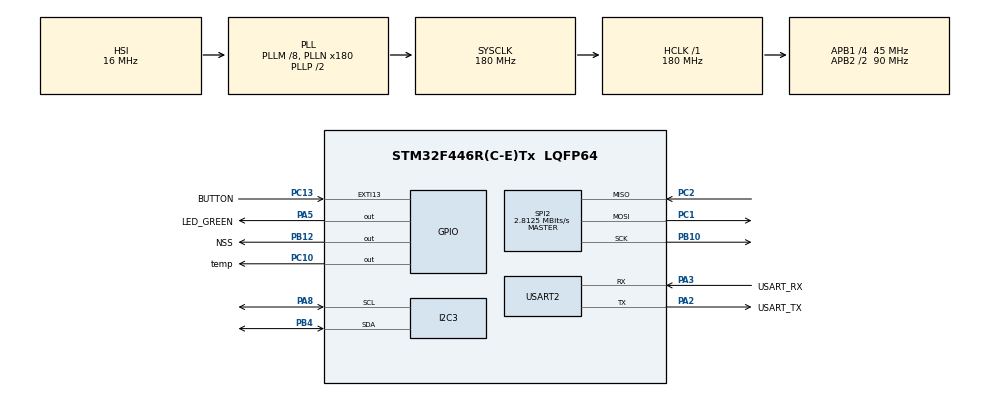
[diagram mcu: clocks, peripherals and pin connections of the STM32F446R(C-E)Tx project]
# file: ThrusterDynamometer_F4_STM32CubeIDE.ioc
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Dma.Request0=SPI2_RX
Dma.Request1=SPI2_TX
Dma.SPI2_RX.0.Direction=DMA_PERIPH_TO_MEMORY
Dma.SPI2_RX.0.FIFOMode=DMA_FIFOMODE_ENABLE
Dma.SPI2_RX.0.FIFOThreshold=DMA_FIFO_THRESHOLD_FULL
Dma.SPI2_RX.0.Instance=DMA1_Stream3
Dma.SPI2_RX.0.MemBurst=DMA_MBURST_SINGLE
Dma.SPI2_RX.0.MemDataAlignment=DMA_MDATAALIGN_BYTE
Dma.SPI2_RX.0.MemInc=DMA_MINC_ENABLE
Dma.SPI2_RX.0.Mode=DMA_NORMAL
Dma.SPI2_RX.0.PeriphBurst=DMA_PBURST_SINGLE
Dma.SPI2_RX.0.PeriphDataAlignment=DMA_PDATAALIGN_BYTE
Dma.SPI2_RX.0.PeriphInc=DMA_PINC_DISABLE
Dma.SPI2_RX.0.Priority=DMA_PRIORITY_LOW
Dma.SPI2_TX.1.Direction=DMA_MEMORY_TO_PERIPH
Dma.SPI2_TX.1.FIFOMode=DMA_FIFOMODE_ENABLE
Dma.SPI2_TX.1.FIFOThreshold=DMA_FIFO_THRESHOLD_FULL
Dma.SPI2_TX.1.Instance=DMA1_Stream4
Dma.SPI2_TX.1.MemBurst=DMA_MBURST_SINGLE
Dma.SPI2_TX.1.MemDataAlignment=DMA_MDATAALIGN_BYTE
Dma.SPI2_TX.1.MemInc=DMA_MINC_ENABLE
Dma.SPI2_TX.1.Mode=DMA_NORMAL
Dma.SPI2_TX.1.PeriphBurst=DMA_PBURST_SINGLE
Dma.SPI2_TX.1.PeriphDataAlignment=DMA_PDATAALIGN_BYTE
Dma.SPI2_TX.1.PeriphInc=DMA_PINC_DISABLE
Dma.SPI2_TX.1.Priority=DMA_PRIORITY_LOW
Mcu.Family=STM32F4
Mcu.Name=STM32F446R(C-E)Tx
Mcu.Package=LQFP64
NVIC.DMA1_Stream3_IRQn=true\:0\:0\:false\:false\:true\:false\:true
NVIC.DMA1_Stream4_IRQn=true\:0\:0\:false\:false\:true\:false\:true
NVIC.EXTI15_10_IRQn=true\:0\:0\:false\:false\:true\:true\:true
NVIC.PriorityGroup=NVIC_PRIORITYGROUP_0
NVIC.SPI2_IRQn=true\:0\:0\:false\:false\:true\:true\:true
NVIC.TIM6_DAC_IRQn=true\:0\:0\:false\:false\:true\:true\:true
PA13.GPIO_Label=TMS
PA13.Mode=Serial_Wire
PA13.Signal=SYS_JTMS-SWDIO
PA14.GPIO_Label=TCK
PA14.Mode=Serial_Wire
PA14.Signal=SYS_JTCK-SWCLK
PA2.GPIO_Label=USART_TX
PA2.Mode=Asynchronous
PA2.Signal=USART2_TX
PA3.GPIO_Label=USART_RX
PA3.Mode=Asynchronous
PA3.Signal=USART2_RX
PA5.GPIO_Label=LED_GREEN
PA5.Signal=GPIO_Output
PA8.Mode=I2C
PA8.Signal=I2C3_SCL
PB10.Mode=Full_Duplex_Master
PB10.Signal=SPI2_SCK
PB12.GPIO_Label=NSS
PB12.PinState=GPIO_PIN_SET
PB12.Signal=GPIO_Output
PB3.GPIO_Label=SWO
PB3.Signal=SYS_JTDO-SWO
PB4.Mode=I2C
PB4.Signal=I2C3_SDA
PC1.Mode=Full_Duplex_Master
PC1.Signal=SPI2_MOSI
PC10.GPIO_Label=temp
PC10.Signal=GPIO_Output
PC13.GPIO_Label=BUTTON
PC13.GPIO_ModeDefaultEXTI=GPIO_MODE_IT_FALLING
PC13.Signal=GPXTI13
PC14-OSC32_IN.Mode=LSE-External-Oscillator
PC14-OSC32_IN.Signal=RCC_OSC32_IN
PC15-OSC32_OUT.Mode=LSE-External-Oscillator
PC15-OSC32_OUT.Signal=RCC_OSC32_OUT
PC2.Mode=Full_Duplex_Master
PC2.Signal=SPI2_MISO
PH0-OSC_IN.Mode=HSE-External-Oscillator
PH0-OSC_IN.Signal=RCC_OSC_IN
PH1-OSC_OUT.Mode=HSE-External-Oscillator
PH1-OSC_OUT.Signal=RCC_OSC_OUT
ProjectManager.HeapSize=0x200
ProjectManager.StackSize=0x400
ProjectManager.TargetToolchain=STM32CubeIDE
RCC.48MHZClocksFreq_Value=84000000
RCC.AHBFreq_Value=180000000
RCC.APB1CLKDivider=RCC_HCLK_DIV4
RCC.APB1Freq_Value=45000000
RCC.APB1TimFreq_Value=90000000
RCC.APB2CLKDivider=RCC_HCLK_DIV2
RCC.APB2Freq_Value=90000000
RCC.APB2TimFreq_Value=180000000
RCC.CortexFreq_Value=180000000
RCC.FLatency-AdvancedSettings=FLASH_LATENCY_5
RCC.HCLKFreq_Value=180000000
RCC.HSE_VALUE=8000000
RCC.HSI_VALUE=16000000
RCC.PLLM=8
RCC.PLLN=180
RCC.SYSCLKFreq_VALUE=180000000
RCC.SYSCLKSource=RCC_SYSCLKSOURCE_PLLCLK
RCC.USBFreq_Value=180000000
RCC.VCOOutputFreq_Value=360000000
SPI2.BaudRatePrescaler=SPI_BAUDRATEPRESCALER_16
SPI2.CalculateBaudRate=2.8125 MBits/s
SPI2.Direction=SPI_DIRECTION_2LINES
SPI2.Mode=SPI_MODE_MASTER
SPI2.VirtualType=VM_MASTER
TIM1.Period=65000
TIM1.Prescaler=179
TIM6.Period=9999
TIM6.Prescaler=8999
USART2.VirtualMode=VM_ASYNC
VP_TIM1_VS_ClockSourceINT.Mode=Internal
VP_TIM6_VS_ClockSourceINT.Mode=Enable_Timer
board=NUCLEO-F446RE

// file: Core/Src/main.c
	/* USER CODE BEGIN Header */
/**
  ******************************************************************************
  * @file           : main.c
  * @brief          : Main program body
  ******************************************************************************
  * @attention
  *
  * <h2><center>&copy; Copyright (c) 2020 STMicroelectronics.
  * All rights reserved.</center></h2>
  *
  * This software component is licensed by ST under BSD 3-Clause license,
  * the "License"; You may not use this file except in compliance with the
  * License. You may obtain a copy of the License at:
  *                        opensource.org/licenses/BSD-3-Clause
  *
  ******************************************************************************
  */
/* USER CODE END Header */

#include "main.h"

/* USER CODE BEGIN Includes */

#include "ds18b20.h"
#include "onewire.h"
#include "gpio.h"
#include "MS5837-30BA.h"
#include <string.h>
#include <stdio.h>

/* USER CODE END Includes */

I2C_HandleTypeDef hi2c3;

SPI_HandleTypeDef hspi2;
DMA_HandleTypeDef hdma_spi2_rx;
DMA_HandleTypeDef hdma_spi2_tx;

TIM_HandleTypeDef htim1;
TIM_HandleTypeDef htim6;

UART_HandleTypeDef huart2;

/* USER CODE BEGIN PV */

uint8_t quality = 0;
float temperature1 = 0; // zmienne do temperatury !!!!!!!!!!!!!!!!!!!!!!!!!!!!!!!!!!!!!!!!!!!!!!
float temperature2 = 0; // !!!!!!!!!!!!!!!!!!!!!!!!!!!!!!!!!!!!!!!!!!!!!!!!!!!!!!!!!!!!!!!!!!!!!

char data[50];

char msg[300];

float pressure;

/* USER CODE END PV */

void SystemClock_Config(void);
static void MX_GPIO_Init(void);
static void MX_DMA_Init(void);
static void MX_USART2_UART_Init(void);
static void MX_I2C3_Init(void);
static void MX_SPI2_Init(void);
static void MX_TIM1_Init(void);
static void MX_TIM6_Init(void);

/* USER CODE BEGIN 0 */

uint8_t sensor_data[4];

void add_to_sensor_table(uint8_t sensor_data[], float temp_1, float temp_2){

	uint16_t temp1_16 = (uint16_t)(temp_1*10);
	uint16_t temp2_16 = (uint16_t)(temp_2*10);

	sensor_data[0] = (temp1_16>>8)&0xFF;
	sensor_data[1] = (temp1_16&0xFF);

	sensor_data[2] = (temp2_16>>8)&0xFF;
	sensor_data[3] = (temp2_16&0xFF);
}

void HAL_TIM_PeriodElapsedCallback(TIM_HandleTypeDef *htim){
	if(htim == &htim6){
		HAL_GPIO_TogglePin(LED_GREEN_GPIO_Port, LED_GREEN_Pin);
//		sprintf(data, "%.1f	 |	%.1f\r\n", temperature1, temperature2);
//		sprintf(data, "%d	 |	%d\r\n", (int)(temperature1*10), (int)(temperature2*10));
		add_to_sensor_table(sensor_data, temperature1, temperature2);

		HAL_GPIO_WritePin(NSS_GPIO_Port, NSS_Pin, GPIO_PIN_RESET);

		HAL_SPI_Transmit_DMA(&hspi2, sensor_data, 4);

		sprintf(data, "%x	 |	%x			%x	 |	%x\r\n", sensor_data[0], sensor_data[1], sensor_data[2], sensor_data[3]);
		HAL_UART_Transmit(&huart2, (uint8_t*) data, strlen(data), HAL_MAX_DELAY);
	}
}

void HAL_SPI_TxCpltCallback(SPI_HandleTypeDef *hspi){
	HAL_GPIO_WritePin(NSS_GPIO_Port, NSS_Pin, GPIO_PIN_SET);
}

/* USER CODE END 0 */

int main(void)
{

  /* MCU Configuration--------------------------------------------------------*/

  /* Reset of all peripherals, Initializes the Flash interface and the Systick. */
  HAL_Init();

  /* Configure the system clock */
  SystemClock_Config();

  /* Initialize all configured peripherals */
  MX_GPIO_Init();
  MX_DMA_Init();
  MX_USART2_UART_Init();
  MX_I2C3_Init();
  MX_SPI2_Init();
  MX_TIM1_Init();
  MX_TIM6_Init();
  /* USER CODE BEGIN 2 */

  DS18B20_Init(DS18B20_Resolution_12bits);
  DS18B20_StartAll();

  DS18B20_ReadAll();
  HAL_Delay(2000);

  HAL_TIM_Base_Start_IT(&htim6);

  /* USER CODE END 2 */

  /* Infinite loop */
  /* USER CODE BEGIN WHILE */
  while (1)
  {

	  	DS18B20_ReadAll();
		DS18B20_GetTemperature(0, &temperature1);
		temperature1 = (1.0178117 * temperature1) - 0.5625;
		DS18B20_GetTemperature(1, &temperature2);
		temperature2 = (1.0176 * temperature2) - 0.4125;

		DS18B20_StartAll();
		quality = DS18B20_Quantity();

		HAL_Delay(1000);

    /* USER CODE END WHILE */

  }
}

void SystemClock_Config(void)
{
  RCC_OscInitTypeDef RCC_OscInitStruct = {0};
  RCC_ClkInitTypeDef RCC_ClkInitStruct = {0};

  /** Configure the main internal regulator output voltage
  */
  __HAL_RCC_PWR_CLK_ENABLE();
  __HAL_PWR_VOLTAGESCALING_CONFIG(PWR_REGULATOR_VOLTAGE_SCALE1);
  /** Initializes the CPU, AHB and APB busses clocks
  */
  RCC_OscInitStruct.OscillatorType = RCC_OSCILLATORTYPE_HSI;
  RCC_OscInitStruct.HSIState = RCC_HSI_ON;
  RCC_OscInitStruct.HSICalibrationValue = RCC_HSICALIBRATION_DEFAULT;
  RCC_OscInitStruct.PLL.PLLState = RCC_PLL_ON;
  RCC_OscInitStruct.PLL.PLLSource = RCC_PLLSOURCE_HSI;
  RCC_OscInitStruct.PLL.PLLM = 8;
  RCC_OscInitStruct.PLL.PLLN = 180;
  RCC_OscInitStruct.PLL.PLLP = RCC_PLLP_DIV2;
  RCC_OscInitStruct.PLL.PLLQ = 2;
  RCC_OscInitStruct.PLL.PLLR = 2;
  if (HAL_RCC_OscConfig(&RCC_OscInitStruct) != HAL_OK)
  {
    Error_Handler();
  }
  /** Activate the Over-Drive mode
  */
  if (HAL_PWREx_EnableOverDrive() != HAL_OK)
  {
    Error_Handler();
  }
  /** Initializes the CPU, AHB and APB busses clocks
  */
  RCC_ClkInitStruct.ClockType = RCC_CLOCKTYPE_HCLK|RCC_CLOCKTYPE_SYSCLK
                              |RCC_CLOCKTYPE_PCLK1|RCC_CLOCKTYPE_PCLK2;
  RCC_ClkInitStruct.SYSCLKSource = RCC_SYSCLKSOURCE_PLLCLK;
  RCC_ClkInitStruct.AHBCLKDivider = RCC_SYSCLK_DIV1;
  RCC_ClkInitStruct.APB1CLKDivider = RCC_HCLK_DIV4;
  RCC_ClkInitStruct.APB2CLKDivider = RCC_HCLK_DIV2;

  if (HAL_RCC_ClockConfig(&RCC_ClkInitStruct, FLASH_LATENCY_5) != HAL_OK)
  {
    Error_Handler();
  }
}

static void MX_I2C3_Init(void)
{

  hi2c3.Instance = I2C3;
  hi2c3.Init.ClockSpeed = 100000;
  hi2c3.Init.DutyCycle = I2C_DUTYCYCLE_2;
  hi2c3.Init.OwnAddress1 = 0;
  hi2c3.Init.AddressingMode = I2C_ADDRESSINGMODE_7BIT;
  hi2c3.Init.DualAddressMode = I2C_DUALADDRESS_DISABLE;
  hi2c3.Init.OwnAddress2 = 0;
  hi2c3.Init.GeneralCallMode = I2C_GENERALCALL_DISABLE;
  hi2c3.Init.NoStretchMode = I2C_NOSTRETCH_DISABLE;
  if (HAL_I2C_Init(&hi2c3) != HAL_OK)
  {
    Error_Handler();
  }

}

static void MX_SPI2_Init(void)
{

  /* SPI2 parameter configuration*/
  hspi2.Instance = SPI2;
  hspi2.Init.Mode = SPI_MODE_MASTER;
  hspi2.Init.Direction = SPI_DIRECTION_2LINES;
  hspi2.Init.DataSize = SPI_DATASIZE_8BIT;
  hspi2.Init.CLKPolarity = SPI_POLARITY_LOW;
  hspi2.Init.CLKPhase = SPI_PHASE_1EDGE;
  hspi2.Init.NSS = SPI_NSS_SOFT;
  hspi2.Init.BaudRatePrescaler = SPI_BAUDRATEPRESCALER_16;
  hspi2.Init.FirstBit = SPI_FIRSTBIT_MSB;
  hspi2.Init.TIMode = SPI_TIMODE_DISABLE;
  hspi2.Init.CRCCalculation = SPI_CRCCALCULATION_DISABLE;
  hspi2.Init.CRCPolynomial = 10;
  if (HAL_SPI_Init(&hspi2) != HAL_OK)
  {
    Error_Handler();
  }

}

static void MX_TIM1_Init(void)
{

  TIM_ClockConfigTypeDef sClockSourceConfig = {0};
  TIM_MasterConfigTypeDef sMasterConfig = {0};

  htim1.Instance = TIM1;
  htim1.Init.Prescaler = 179;
  htim1.Init.CounterMode = TIM_COUNTERMODE_UP;
  htim1.Init.Period = 65000;
  htim1.Init.ClockDivision = TIM_CLOCKDIVISION_DIV1;
  htim1.Init.RepetitionCounter = 0;
  htim1.Init.AutoReloadPreload = TIM_AUTORELOAD_PRELOAD_DISABLE;
  if (HAL_TIM_Base_Init(&htim1) != HAL_OK)
  {
    Error_Handler();
  }
  sClockSourceConfig.ClockSource = TIM_CLOCKSOURCE_INTERNAL;
  if (HAL_TIM_ConfigClockSource(&htim1, &sClockSourceConfig) != HAL_OK)
  {
    Error_Handler();
  }
  sMasterConfig.MasterOutputTrigger = TIM_TRGO_RESET;
  sMasterConfig.MasterSlaveMode = TIM_MASTERSLAVEMODE_DISABLE;
  if (HAL_TIMEx_MasterConfigSynchronization(&htim1, &sMasterConfig) != HAL_OK)
  {
    Error_Handler();
  }

}

static void MX_TIM6_Init(void)
{

  TIM_MasterConfigTypeDef sMasterConfig = {0};

  htim6.Instance = TIM6;
  htim6.Init.Prescaler = 8999;
  htim6.Init.CounterMode = TIM_COUNTERMODE_UP;
  htim6.Init.Period = 9999;
  htim6.Init.AutoReloadPreload = TIM_AUTORELOAD_PRELOAD_DISABLE;
  if (HAL_TIM_Base_Init(&htim6) != HAL_OK)
  {
    Error_Handler();
  }
  sMasterConfig.MasterOutputTrigger = TIM_TRGO_RESET;
  sMasterConfig.MasterSlaveMode = TIM_MASTERSLAVEMODE_DISABLE;
  if (HAL_TIMEx_MasterConfigSynchronization(&htim6, &sMasterConfig) != HAL_OK)
  {
    Error_Handler();
  }

}

static void MX_USART2_UART_Init(void)
{

  huart2.Instance = USART2;
  huart2.Init.BaudRate = 115200;
  huart2.Init.WordLength = UART_WORDLENGTH_8B;
  huart2.Init.StopBits = UART_STOPBITS_1;
  huart2.Init.Parity = UART_PARITY_NONE;
  huart2.Init.Mode = UART_MODE_TX_RX;
  huart2.Init.HwFlowCtl = UART_HWCONTROL_NONE;
  huart2.Init.OverSampling = UART_OVERSAMPLING_16;
  if (HAL_UART_Init(&huart2) != HAL_OK)
  {
    Error_Handler();
  }

}

static void MX_DMA_Init(void)
{

  /* DMA controller clock enable */
  __HAL_RCC_DMA1_CLK_ENABLE();

  /* DMA interrupt init */
  /* DMA1_Stream3_IRQn interrupt configuration */
  HAL_NVIC_SetPriority(DMA1_Stream3_IRQn, 0, 0);
  HAL_NVIC_EnableIRQ(DMA1_Stream3_IRQn);
  /* DMA1_Stream4_IRQn interrupt configuration */
  HAL_NVIC_SetPriority(DMA1_Stream4_IRQn, 0, 0);
  HAL_NVIC_EnableIRQ(DMA1_Stream4_IRQn);

}

static void MX_GPIO_Init(void)
{
  GPIO_InitTypeDef GPIO_InitStruct = {0};

  /* GPIO Ports Clock Enable */
  __HAL_RCC_GPIOC_CLK_ENABLE();
  __HAL_RCC_GPIOH_CLK_ENABLE();
  __HAL_RCC_GPIOA_CLK_ENABLE();
  __HAL_RCC_GPIOB_CLK_ENABLE();

  /*Configure GPIO pin Output Level */
  HAL_GPIO_WritePin(LED_GREEN_GPIO_Port, LED_GREEN_Pin, GPIO_PIN_RESET);

  /*Configure GPIO pin Output Level */
  HAL_GPIO_WritePin(NSS_GPIO_Port, NSS_Pin, GPIO_PIN_SET);

  /*Configure GPIO pin Output Level */
  HAL_GPIO_WritePin(temp_GPIO_Port, temp_Pin, GPIO_PIN_RESET);

  /*Configure GPIO pin : BUTTON_Pin */
  GPIO_InitStruct.Pin = BUTTON_Pin;
  GPIO_InitStruct.Mode = GPIO_MODE_IT_FALLING;
  GPIO_InitStruct.Pull = GPIO_NOPULL;
  HAL_GPIO_Init(BUTTON_GPIO_Port, &GPIO_InitStruct);

  /*Configure GPIO pin : LED_GREEN_Pin */
  GPIO_InitStruct.Pin = LED_GREEN_Pin;
  GPIO_InitStruct.Mode = GPIO_MODE_OUTPUT_PP;
  GPIO_InitStruct.Pull = GPIO_NOPULL;
  GPIO_InitStruct.Speed = GPIO_SPEED_FREQ_LOW;
  HAL_GPIO_Init(LED_GREEN_GPIO_Port, &GPIO_InitStruct);

  /*Configure GPIO pin : NSS_Pin */
  GPIO_InitStruct.Pin = NSS_Pin;
  GPIO_InitStruct.Mode = GPIO_MODE_OUTPUT_PP;
  GPIO_InitStruct.Pull = GPIO_NOPULL;
  GPIO_InitStruct.Speed = GPIO_SPEED_FREQ_LOW;
  HAL_GPIO_Init(NSS_GPIO_Port, &GPIO_InitStruct);

  /*Configure GPIO pin : temp_Pin */
  GPIO_InitStruct.Pin = temp_Pin;
  GPIO_InitStruct.Mode = GPIO_MODE_OUTPUT_PP;
  GPIO_InitStruct.Pull = GPIO_NOPULL;
  GPIO_InitStruct.Speed = GPIO_SPEED_FREQ_LOW;
  HAL_GPIO_Init(temp_GPIO_Port, &GPIO_InitStruct);

  /* EXTI interrupt init*/
  HAL_NVIC_SetPriority(EXTI15_10_IRQn, 0, 0);
  HAL_NVIC_EnableIRQ(EXTI15_10_IRQn);

}

void Error_Handler(void)
{
}

/************************ (C) COPYRIGHT STMicroelectronics *****END OF FILE****/
